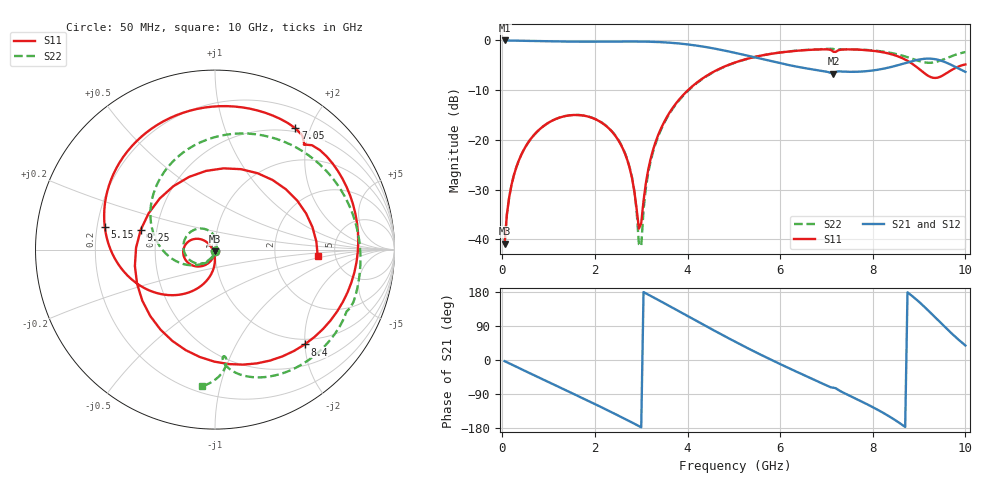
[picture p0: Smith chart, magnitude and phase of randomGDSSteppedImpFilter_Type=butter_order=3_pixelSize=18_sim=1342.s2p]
! freq	dB(S11)	phase(S11)	dB(S12)	phase(S12)
!  dB(S21)	phase(S21)	dB(S22)	phase(S22)
!S-par simulation data
#  GHz  S  DB  R 50
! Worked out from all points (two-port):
!   200 points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, 50 MHz to 10 GHz, reference 50 ohm
!   highest |S21| = -0.01 dB at 50 MHz (marker M1); lowest = -6.7 dB at 7.15 GHz (marker M2)
!   |S21| within 3 dB of the highest: start of sweep to 5.267 GHz
!   lowest |S11| = -40.8 dB at 50 MHz (marker M3), VSWR 1.02, Z = 50 - j0.908 ohm
!   |S11| at or under -10 dB: start of sweep to 4.01 GHz
!   |S22| runs from -41.4 to -1.7 dB; largest |S21 - S12| = 0
!   S11 on the Smith chart (normalised r, x): 50 MHz: 1.00, -0.02; 5.15 GHz: 0.23, +0.10; 7.05 GHz: 0.45, +1.78; 8.4 GHz: 0.89, -1.99; 9.25 GHz: 0.41, +0.11; 10 GHz: 3.64, -0.40
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0.05  -40.83 -91.3  -0.01 -3.0  -0.01 -3.0  -40.84 -92.0
0.2  -29.00 -100.3  -0.03 -11.8  -0.03 -11.8  -29.01 -102.8
0.5  -21.40 -116.6  -0.07 -29.4  -0.07 -29.4  -21.41 -122.9
1.75  -15.11 179.8  -0.26 -101.7  -0.26 -101.7  -15.09 155.7
2.6  -21.69 140.7  -0.22 -152.4  -0.22 -152.4  -21.60 95.8
2.8  -27.63 138.4  -0.21 -164.9  -0.21 -164.9  -27.50 77.7
3  -36.72 -124.2  -0.23 -177.6  -0.23 -177.6  -41.36 -63.2
3.15  -26.03 -90.7  -0.25 172.7  -0.25 172.7  -26.69 -112.8
3.4  -18.27 -96.5  -0.34 156.3  -0.34 156.3  -18.52 -136.0
4.2  -8.48 -138.2  -1.04 102.8  -1.04 102.8  -8.58 160.8
5.05  -4.36 174.1  -2.54 46.9  -2.54 46.9  -4.39 97.7
5.15  -4.06 168.5  -2.75 40.6  -2.75 40.6  -4.09 90.8
6.7  -1.87 79.3  -5.83 -50.3  -5.83 -50.3  -1.83 -1.2
7.05  -1.82 56.4  -6.40 -69.8  -6.40 -69.8  -1.69 -18.1
7.15  -2.28 49.6  -6.71 -73.1  -6.71 -73.1  -1.72 -23.4
7.8  -1.91 6.9  -6.23 -112.0  -6.23 -112.0  -1.87 -49.7
8.35  -2.65 -41.4  -5.44 -148.4  -5.44 -148.4  -2.43 -70.3
8.4  -2.77 -46.6  -5.33 -152.1  -5.33 -152.1  -2.52 -72.1
8.8  -4.38 -98.1  -4.30 173.8  -4.30 173.8  -3.52 -83.3
9.25  -7.37 165.1  -3.67 124.3  -3.67 124.3  -4.49 -85.0
9.6  -6.54 72.1  -4.51 82.0  -4.51 82.0  -3.54 -85.4
10  -4.83 -3.6  -6.33 38.2  -6.33 38.2  -2.33 -95.3
